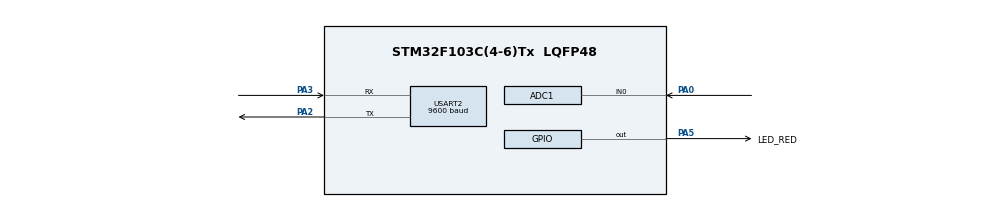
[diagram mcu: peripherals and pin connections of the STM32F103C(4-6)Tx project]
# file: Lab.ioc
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ADC1.Channel-1\#ChannelRegularConversion=ADC_CHANNEL_0
ADC1.ContinuousConvMode=ENABLE
ADC1.NbrOfConversionFlag=1
ADC1.Rank-1\#ChannelRegularConversion=1
ADC1.SamplingTime-1\#ChannelRegularConversion=ADC_SAMPLETIME_1CYCLE_5
ADC1.master=1
Mcu.Family=STM32F1
Mcu.Name=STM32F103C(4-6)Tx
Mcu.Package=LQFP48
NVIC.PriorityGroup=NVIC_PRIORITYGROUP_4
NVIC.TIM2_IRQn=true\:0\:0\:false\:false\:true\:true\:true
NVIC.USART2_IRQn=true\:0\:0\:false\:false\:true\:true\:true
PA0-WKUP.Signal=ADCx_IN0
PA2.Mode=Asynchronous
PA2.Signal=USART2_TX
PA3.Mode=Asynchronous
PA3.Signal=USART2_RX
PA5.GPIO_Label=LED_RED
PA5.Signal=GPIO_Output
ProjectManager.HeapSize=0x200
ProjectManager.StackSize=0x400
ProjectManager.TargetToolchain=STM32CubeIDE
RCC.APB1Freq_Value=8000000
RCC.APB2Freq_Value=8000000
SH.ADCx_IN0.0=ADC1_IN0,IN0
TIM2.Period=9
TIM2.Prescaler=7999
USART2.BaudRate=9600
USART2.VirtualMode=VM_ASYNC
VP_SYS_VS_ND.Mode=No_Debug
VP_TIM2_VS_ClockSourceINT.Mode=Internal
board=custom

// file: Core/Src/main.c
/* USER CODE BEGIN Header */
/**
  ******************************************************************************
  * @file           : main.c
  * @brief          : Main program body
  ******************************************************************************
  * @attention
  *
  * <h2><center>&copy; Copyright (c) 2024 STMicroelectronics.
  * All rights reserved.</center></h2>
  *
  * This software component is licensed by ST under BSD 3-Clause license,
  * the "License"; You may not use this file except in compliance with the
  * License. You may obtain a copy of the License at:
  *                        opensource.org/licenses/BSD-3-Clause
  *
  ******************************************************************************
  */
/* USER CODE END Header */
#include "main.h"

/* USER CODE BEGIN Includes */
#include <software_timer.h>
#include <UART.h>
/* USER CODE END Includes */

ADC_HandleTypeDef hadc1;

TIM_HandleTypeDef htim2;

UART_HandleTypeDef huart2;

void SystemClock_Config(void);
static void MX_GPIO_Init(void);
static void MX_ADC1_Init(void);
static void MX_USART2_UART_Init(void);
static void MX_TIM2_Init(void);

/* USER CODE BEGIN 0 */
void HAL_UART_RxCpltCallback(UART_HandleTypeDef *huart)
{
	if (huart->Instance == USART2)
	{
		//HAL_UART_Transmit(&huart2, &temp, 1, 50);
		buffer[index_buffer++] = temp;
		if(index_buffer == 30)
		{
			index_buffer = 0;
		}
		buffer_flag = 1;
		HAL_UART_Transmit(&huart2, &temp, 1, 1000);
		HAL_UART_Receive_IT(&huart2, &temp, 1);
	}
}
/* USER CODE END 0 */

int main(void)
{

  /* MCU Configuration--------------------------------------------------------*/

  /* Reset of all peripherals, Initializes the Flash interface and the Systick. */
  HAL_Init();

  /* Configure the system clock */
  SystemClock_Config();

  /* Initialize all configured peripherals */
  MX_GPIO_Init();
  MX_ADC1_Init();
  MX_USART2_UART_Init();
  MX_TIM2_Init();
  /* USER CODE BEGIN 2 */
  HAL_TIM_Base_Start_IT(&htim2);
  HAL_ADC_Start(&hadc1);
  /* USER CODE END 2 */

  /* Infinite loop */
  /* USER CODE BEGIN WHILE */
  uint8_t init[]="Wait...\r\n";
  HAL_Delay(1000);
  HAL_UART_Transmit(&huart2, init, sizeof(init), 1000);
  HAL_UART_Receive_IT(&huart2, &temp, 1);
  setTimer(0, 1000);
  while (1)
  {
	  if (buffer_flag == 1)
	  {
		  command_parser_fsm();
		  buffer_flag = 0;
	  }
	  uart_communication_fsm();
	  if (timer_flag[0] == 1)
	  {
		  timer_flag[0] = 0;
		  HAL_GPIO_TogglePin(LED_RED_GPIO_Port, LED_RED_Pin);
		  setTimer(0, 1000);
	  }
    /* USER CODE END WHILE */

  }
}

void SystemClock_Config(void)
{
  RCC_OscInitTypeDef RCC_OscInitStruct = {0};
  RCC_ClkInitTypeDef RCC_ClkInitStruct = {0};
  RCC_PeriphCLKInitTypeDef PeriphClkInit = {0};

  /** Initializes the RCC Oscillators according to the specified parameters
  * in the RCC_OscInitTypeDef structure.
  */
  RCC_OscInitStruct.OscillatorType = RCC_OSCILLATORTYPE_HSI;
  RCC_OscInitStruct.HSIState = RCC_HSI_ON;
  RCC_OscInitStruct.HSICalibrationValue = RCC_HSICALIBRATION_DEFAULT;
  RCC_OscInitStruct.PLL.PLLState = RCC_PLL_NONE;
  if (HAL_RCC_OscConfig(&RCC_OscInitStruct) != HAL_OK)
  {
    Error_Handler();
  }
  /** Initializes the CPU, AHB and APB buses clocks
  */
  RCC_ClkInitStruct.ClockType = RCC_CLOCKTYPE_HCLK|RCC_CLOCKTYPE_SYSCLK
                              |RCC_CLOCKTYPE_PCLK1|RCC_CLOCKTYPE_PCLK2;
  RCC_ClkInitStruct.SYSCLKSource = RCC_SYSCLKSOURCE_HSI;
  RCC_ClkInitStruct.AHBCLKDivider = RCC_SYSCLK_DIV1;
  RCC_ClkInitStruct.APB1CLKDivider = RCC_HCLK_DIV1;
  RCC_ClkInitStruct.APB2CLKDivider = RCC_HCLK_DIV1;

  if (HAL_RCC_ClockConfig(&RCC_ClkInitStruct, FLASH_LATENCY_0) != HAL_OK)
  {
    Error_Handler();
  }
  PeriphClkInit.PeriphClockSelection = RCC_PERIPHCLK_ADC;
  PeriphClkInit.AdcClockSelection = RCC_ADCPCLK2_DIV2;
  if (HAL_RCCEx_PeriphCLKConfig(&PeriphClkInit) != HAL_OK)
  {
    Error_Handler();
  }
}

static void MX_ADC1_Init(void)
{

  ADC_ChannelConfTypeDef sConfig = {0};

  /** Common config
  */
  hadc1.Instance = ADC1;
  hadc1.Init.ScanConvMode = ADC_SCAN_DISABLE;
  hadc1.Init.ContinuousConvMode = ENABLE;
  hadc1.Init.DiscontinuousConvMode = DISABLE;
  hadc1.Init.ExternalTrigConv = ADC_SOFTWARE_START;
  hadc1.Init.DataAlign = ADC_DATAALIGN_RIGHT;
  hadc1.Init.NbrOfConversion = 1;
  if (HAL_ADC_Init(&hadc1) != HAL_OK)
  {
    Error_Handler();
  }
  /** Configure Regular Channel
  */
  sConfig.Channel = ADC_CHANNEL_0;
  sConfig.Rank = ADC_REGULAR_RANK_1;
  sConfig.SamplingTime = ADC_SAMPLETIME_1CYCLE_5;
  if (HAL_ADC_ConfigChannel(&hadc1, &sConfig) != HAL_OK)
  {
    Error_Handler();
  }

}

static void MX_TIM2_Init(void)
{

  TIM_ClockConfigTypeDef sClockSourceConfig = {0};
  TIM_MasterConfigTypeDef sMasterConfig = {0};

  htim2.Instance = TIM2;
  htim2.Init.Prescaler = 7999;
  htim2.Init.CounterMode = TIM_COUNTERMODE_UP;
  htim2.Init.Period = 9;
  htim2.Init.ClockDivision = TIM_CLOCKDIVISION_DIV1;
  htim2.Init.AutoReloadPreload = TIM_AUTORELOAD_PRELOAD_DISABLE;
  if (HAL_TIM_Base_Init(&htim2) != HAL_OK)
  {
    Error_Handler();
  }
  sClockSourceConfig.ClockSource = TIM_CLOCKSOURCE_INTERNAL;
  if (HAL_TIM_ConfigClockSource(&htim2, &sClockSourceConfig) != HAL_OK)
  {
    Error_Handler();
  }
  sMasterConfig.MasterOutputTrigger = TIM_TRGO_RESET;
  sMasterConfig.MasterSlaveMode = TIM_MASTERSLAVEMODE_DISABLE;
  if (HAL_TIMEx_MasterConfigSynchronization(&htim2, &sMasterConfig) != HAL_OK)
  {
    Error_Handler();
  }

}

static void MX_USART2_UART_Init(void)
{

  huart2.Instance = USART2;
  huart2.Init.BaudRate = 9600;
  huart2.Init.WordLength = UART_WORDLENGTH_8B;
  huart2.Init.StopBits = UART_STOPBITS_1;
  huart2.Init.Parity = UART_PARITY_NONE;
  huart2.Init.Mode = UART_MODE_TX_RX;
  huart2.Init.HwFlowCtl = UART_HWCONTROL_NONE;
  huart2.Init.OverSampling = UART_OVERSAMPLING_16;
  if (HAL_UART_Init(&huart2) != HAL_OK)
  {
    Error_Handler();
  }

}

static void MX_GPIO_Init(void)
{
  GPIO_InitTypeDef GPIO_InitStruct = {0};

  /* GPIO Ports Clock Enable */
  __HAL_RCC_GPIOA_CLK_ENABLE();

  /*Configure GPIO pin Output Level */
  HAL_GPIO_WritePin(LED_RED_GPIO_Port, LED_RED_Pin, GPIO_PIN_RESET);

  /*Configure GPIO pin : LED_RED_Pin */
  GPIO_InitStruct.Pin = LED_RED_Pin;
  GPIO_InitStruct.Mode = GPIO_MODE_OUTPUT_PP;
  GPIO_InitStruct.Pull = GPIO_NOPULL;
  GPIO_InitStruct.Speed = GPIO_SPEED_FREQ_LOW;
  HAL_GPIO_Init(LED_RED_GPIO_Port, &GPIO_InitStruct);

}

/* USER CODE BEGIN 4 */

void HAL_TIM_PeriodElapsedCallback(TIM_HandleTypeDef *htim)
{
	timerRun();
}
/* USER CODE END 4 */

void Error_Handler(void)
{
  __disable_irq();
  while (1)
  {
  }
}

/************************ (C) COPYRIGHT STMicroelectronics *****END OF FILE****/
